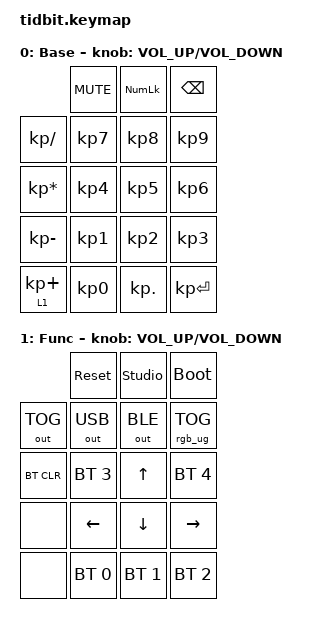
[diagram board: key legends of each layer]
/*
 * Copyright (c) 2020 The ZMK Contributors
 *
 * SPDX-License-Identifier: MIT
 */

#include <behaviors.dtsi>
#include <dt-bindings/zmk/bt.h>
#include <dt-bindings/zmk/keys.h>
#include <dt-bindings/zmk/outputs.h>
#include <dt-bindings/zmk/rgb.h>


/* Enable top row encoder */
&encoder_1_top_row {
    status = "okay";
};
&sensors {
    sensors = <&encoder_1_top_row>;
};

/ {
    chosen {
        zmk,matrix-transform = &default_transform;
    };

    keymap {
        compatible = "zmk,keymap";

        default_layer {
            display-name = "Base";

            bindings = <
                                &kp C_MUTE      &kp KP_NUMLOCK  &kp BACKSPACE
                &kp KP_SLASH    &kp KP_NUMBER_7 &kp KP_NUMBER_8 &kp KP_NUMBER_9
                &kp KP_MULTIPLY &kp KP_NUMBER_4 &kp KP_NUMBER_5 &kp KP_NUMBER_6
                &kp KP_MINUS    &kp KP_NUMBER_1 &kp KP_NUMBER_2 &kp KP_NUMBER_3
                &lt 1 KP_PLUS   &kp KP_NUMBER_0 &kp KP_DOT      &kp KP_ENTER
            >;

            sensor-bindings = <&inc_dec_kp C_VOLUME_UP C_VOLUME_DOWN>;
        };

         func_layer {
            display-name = "Func";
            
             bindings = <
                                &sys_reset      &studio_unlock  &bootloader
                &out OUT_TOG    &out OUT_USB    &out OUT_BLE    &rgb_ug RGB_TOG
                &bt BT_CLR      &bt BT_SEL 3    &kp UP_ARROW    &bt BT_SEL 4
                &none           &kp LEFT_ARROW  &kp DOWN_ARROW  &kp RIGHT_ARROW
                &none           &bt BT_SEL 0    &bt BT_SEL 1    &bt BT_SEL 2
             >;

             sensor-bindings = <&inc_dec_kp C_VOLUME_UP C_VOLUME_DOWN>;
         };
    };
};
